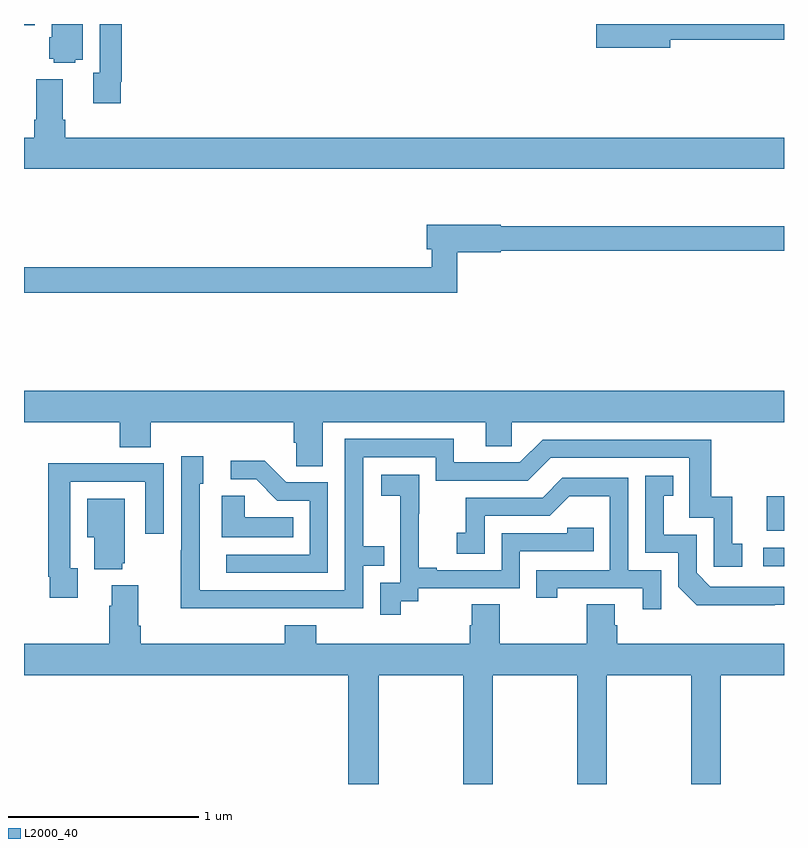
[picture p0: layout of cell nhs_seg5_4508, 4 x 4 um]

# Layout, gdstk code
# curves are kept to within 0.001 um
import gdstk
lib = gdstk.Library(unit=1e-6, precision=1e-09)
def R(c, l, rs):  # rectangles x0, y0, x1, y1
    for r in rs: c.add(gdstk.rectangle(r[:2], r[2:], *l))
def P(c, l, *ps):  # polygons
    for p in ps: c.add(gdstk.Polygon(p, *l))
L2000_40 = (2000, 40)

nhs_seg5_4508 = lib.new_cell('nhs_seg5_4508')
R(nhs_seg5_4508, L2000_40, [(378.891,911.946,379,912.042), (378.908,912.131,379,912.313), (375,914.793,375.057,914.799)])
P(nhs_seg5_4508, L2000_40, [(375.27,914.612),(375.31,914.612),(375.31,914.799),(375.146,914.799),(375.146,914.73),(375.134,914.73),(375.134,914.616),(375.156,914.616),(375.156,914.594),(375.27,914.594)],
  [(375.508,914.494),(375.515,914.494),(375.515,914.799),(375.399,914.799),(375.399,914.543),(375.365,914.543),(375.365,914.382),(375.508,914.382)],
  [(378.4,914.716),(379,914.716),(379,914.799),(378.012,914.799),(378.012,914.674),(378.4,914.674)],
  [(379,914.2),(375.218,914.2),(375.218,914.296),(375.205,914.296),(375.205,914.509),(375.065,914.509),(375.065,914.296),(375.053,914.296),(375.053,914.2),(375,914.2),(375,914.036),(379,914.036)],
  [(377.279,913.598),(377.508,913.598),(377.508,913.606),(379,913.606),(379,913.735),(377.508,913.735),(377.508,913.743),(377.12,913.743),(377.12,913.613),(377.147,913.613),(377.147,913.52),(375,913.52),(375,913.384),(377.279,913.384)],
  [(376.573,912.704),(377.429,912.704),(377.429,912.577),(377.568,912.577),(377.568,912.704),(379,912.704),(379,912.868),(375,912.868),(375,912.704),(375.503,912.704),(375.503,912.571),(375.668,912.571),(375.668,912.704),(376.421,912.704),(376.421,912.595),(376.434,912.595),(376.434,912.472),(376.573,912.472)],
  [(376.289,911.724),(376.785,911.724),(376.785,911.949),(376.895,911.949),(376.895,912.05),(376.785,912.05),(376.785,912.519),(377.166,912.519),(377.166,912.396),(377.652,912.396),(377.772,912.516),(378.501,912.516),(378.501,912.201),(378.63,912.201),(378.63,911.943),(378.781,911.943),(378.781,912.063),(378.728,912.063),(378.728,912.31),(378.617,912.31),(378.617,912.612),(377.73,912.612),(377.61,912.492),(377.263,912.492),(377.263,912.615),(376.689,912.615),(376.689,911.82),(375.924,911.82),(375.924,912.378),(375.943,912.378),(375.943,912.523),(375.828,912.523),(375.828,912.029),(375.826,912.029),(375.826,911.723)],
  [(376.599,912.387),(376.38,912.387),(376.267,912.5),(376.089,912.5),(376.089,912.402),(376.223,912.402),(376.334,912.291),(376.503,912.291),(376.503,912.006),(376.065,912.006),(376.065,911.91),(376.599,911.91)],
  [(375.283,911.934),(375.243,911.934),(375.243,912.39),(375.639,912.39),(375.639,912.117),(375.735,912.117),(375.735,912.486),(375.419,912.486),(375.419,912.488),(375.127,912.488),(375.127,911.89),(375.135,911.89),(375.135,911.778),(375.283,911.778)],
  [(376.984,911.761),(377.076,911.761),(377.076,911.829),(377.61,911.829),(377.61,912.024),(377.999,912.024),(377.999,912.147),(377.859,912.147),(377.859,912.12),(377.514,912.12),(377.514,911.925),(377.173,911.925),(377.173,911.938),(377.078,911.938),(377.078,912.221),(377.079,912.221),(377.079,912.427),(376.881,912.427),(376.881,912.317),(376.979,912.317),(376.979,912.089),(376.98,912.089),(376.98,911.859),(376.875,911.859),(376.875,911.691),(376.984,911.691)],
  [(378.95,911.742),(379,911.742),(379,911.838),(378.612,911.838),(378.54,911.91),(378.54,912.111),(378.367,912.111),(378.367,912.315),(378.416,912.315),(378.416,912.421),(378.27,912.421),(378.27,912.015),(378.444,912.015),(378.444,911.838),(378.542,911.741)],
  [(378.354,911.925),(378.18,911.925),(378.18,912.411),(377.834,912.411),(377.729,912.306),(377.326,912.306),(377.326,912.121),(377.277,912.121),(377.277,912.012),(377.424,912.012),(377.424,912.21),(377.766,912.21),(377.87,912.314),(378.084,912.314),(378.084,911.925),(377.695,911.925),(377.695,911.778),(377.806,911.778),(377.806,911.829),(378.257,911.829),(378.257,911.718),(378.354,911.718)],
  [(376.418,912.202),(376.161,912.202),(376.161,912.317),(376.04,912.317),(376.04,912.098),(376.418,912.098)],
  [(375.518,911.961),(375.529,911.961),(375.529,912.301),(375.332,912.301),(375.332,912.098),(375.371,912.098),(375.371,911.93),(375.518,911.93)],
  [(376.866,911.372),(377.311,911.372),(377.311,910.799),(377.466,910.799),(377.466,911.372),(377.911,911.372),(377.911,910.799),(378.066,910.799),(378.066,911.372),(378.511,911.372),(378.511,910.799),(378.666,910.799),(378.666,911.372),(379,911.372),(379,911.536),(378.122,911.536),(378.122,911.634),(378.109,911.634),(378.109,911.744),(377.962,911.744),(377.962,911.536),(377.505,911.536),(377.505,911.744),(377.357,911.744),(377.357,911.634),(377.345,911.634),(377.345,911.536),(376.538,911.536),(376.538,911.635),(376.373,911.635),(376.373,911.536),(375.614,911.536),(375.614,911.632),(375.601,911.632),(375.601,911.845),(375.461,911.845),(375.461,911.738),(375.449,911.738),(375.449,911.536),(375,911.536),(375,911.372),(376.706,911.372),(376.706,910.799),(376.866,910.799)])

lib.write_gds('nhs_seg5_4508.gds')
